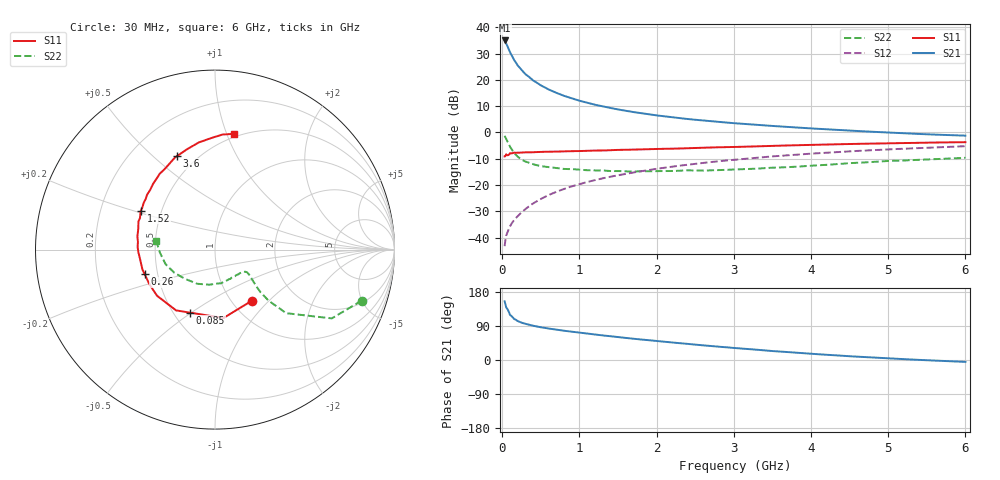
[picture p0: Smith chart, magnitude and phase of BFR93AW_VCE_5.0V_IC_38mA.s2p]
! Infineon Technologies  Discrete & RF Semiconductors
! BFR93AW
! VCE =  5.0 V,  IC =  38 mA
! Common Emitter S-Parameters:  Nov 2015
# GHz  S  MA  R  50
!  f  S11  S21  S12  S22
! GHz  MAG  ANG  MAG  ANG  MAG  ANG  MAG  ANG
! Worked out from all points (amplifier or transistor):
!   206 points, 30 MHz to 6 GHz, reference 50 ohm
!   highest |S21| = 35.0 dB at 30 MHz (marker M1)
!   |S21| within 3 dB of that: start of sweep to 78.64 MHz
!   unconditionally stable (mu >= 1): 395.2 MHz to 2.142 GHz
!   at 200 MHz: K = 0.86, MSG = 28.6 dB, |S12| = -31.8 dB
!   at 1.56 GHz: K = 1.03, MAG = 11.0 dB, |S12| = -15.9 dB
!   at 6 GHz: K = 0.91, MSG = 2.0 dB, |S12| = -5.2 dB
!   S11 on the Smith chart (normalised r, x): 30 MHz: 1.22, -0.80; 85 MHz: 0.60, -0.50; 260 MHz: 0.42, -0.14; 1.52 GHz: 0.38, +0.21; 3.6 GHz: 0.39, +0.60; 6 GHz: 0.47, +1.06
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0.03  0.3511 -54.6  55.98 154.8  0.0069 74.5  0.8645 -19.2
0.05  0.3838 -82.9  49.4 139.3  0.0109 70.0  0.7552 -30.5
0.085  0.3774 -111.4  37.66 126.9  0.0148 65.8  0.5965 -37.5
0.1  0.4022 -122.6  33.43 119.1  0.0165 64.6  0.5324 -41.8
0.15  0.4129 -141.5  24.11 108.9  0.0214 65.1  0.4107 -43.6
0.2  0.4132 -151.9  18.75 102.7  0.0257 67.2  0.346 -43.1
0.24  0.4136 -158.2  15.92 99.4  0.0294 69.1  0.3121 -41.8
0.26  0.4152 -160.8  14.73 97.8  0.0312 69.7  0.2988 -41.1
0.3  0.4192 -164.6  12.81 95.1  0.035 70.5  0.2798 -39.9
0.4  0.4203 -172.6  9.712 90.2  0.0448 72.2  0.248 -37.0
0.5  0.4273 -178.0  7.837 86.2  0.0545 73.6  0.2287 -35.8
0.6  0.4313 178.1  6.561 83.0  0.0644 73.9  0.2188 -35.3
0.7  0.4317 174.1  5.66 80.0  0.0743 74.1  0.2115 -35.8
0.84  0.4388 169.5  4.75 76.2  0.0884 73.9  0.2019 -37.7
1.04  0.4452 163.6  3.866 71.1  0.108 73.0  0.1945 -41.1
1.52  0.4663 152.3  2.701 60.1  0.1557 70.1  0.1846 -53.4
2.02  0.4862 141.2  2.092 49.6  0.2056 66.0  0.1845 -69.1
3.1  0.5337 120.4  1.464 30.3  0.3117 55.8  0.1997 -102.7
3.6  0.5624 112.0  1.3 22.3  0.3594 50.7  0.216 -121.0
4.1  0.5842 104.2  1.17 15.1  0.4037 45.4  0.2375 -138.8
5.1  0.6248 91.0  0.981 3.3  0.4835 34.5  0.2898 -166.4
6  0.6533 80.7  0.869 -5.0  0.5479 25.1  0.33 171.9
